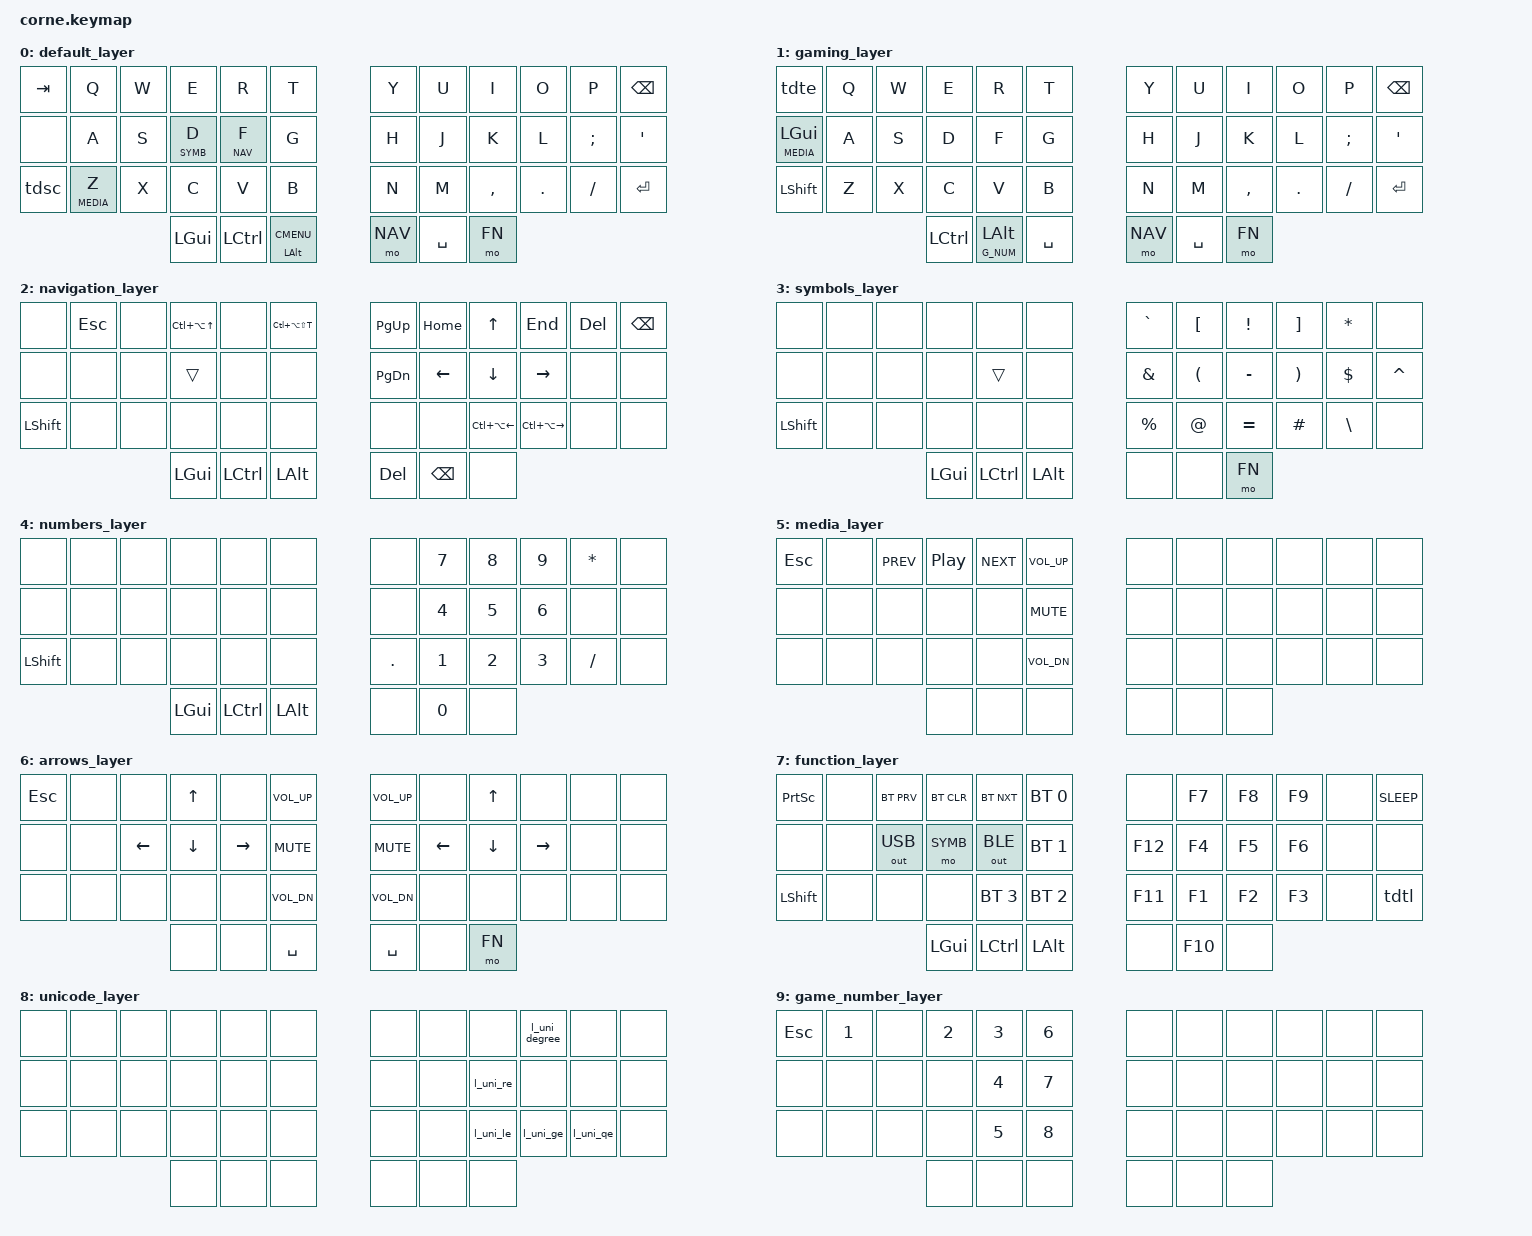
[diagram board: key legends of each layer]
/*
 * Copyright (c) 2020 The ZMK Contributors
 *
 * SPDX-License-Identifier: MIT
 */

#include <behaviors.dtsi>
#include <dt-bindings/zmk/keys.h>
#include <dt-bindings/zmk/bt.h>
#include <dt-bindings/zmk/outputs.h>

#define DEFAULT 0
#define GAME 1
#define NAV 2
#define SYMB 3
#define NUM 4
#define MEDIA 5
#define ARROWS 6
#define FN 7
#define UNI 8
#define G_NUM 9   // Numbers (1-5) accessible from the GAME layer

&caps_word {
    continue-list = <UNDERSCORE MINUS LSHFT>;
};

/ {
	conditional_layers {
		compatible = "zmk,conditional-layers";
		tri_layer_numbers {
			if-layers = <NAV SYMB>;
			then-layer = <NUM>;
		};
		tri_layer_unicode {
			if-layers = <SYMB FN>;
			then-layer = <UNI>;
		};
	};

    behaviors {
        mltp: media_layer_tap_preferred {
            compatible = "zmk,behavior-hold-tap";
            label = "MEDIA_LAYER_TAP_PREFERRED";
            #binding-cells = <2>;
			flavor = "tap-preferred";
			tapping-term-ms = <300>;
            bindings = <&mo>, <&kp>;
        };

        tdsc: tap_dance_shift_caps_word {
            compatible = "zmk,behavior-tap-dance";
            label = "TAP_DANCE_SHIFT_CAPS_WORD";
            #binding-cells = <0>;
            tapping-term-ms = <200>;
            bindings = <&kp LSHFT>, <&caps_word>;
        };

        tdte: tap_dance_tab_esc {
            compatible = "zmk,behavior-tap-dance";
            label = "TAP_DANCE_TAB_ESC";
            #binding-cells = <0>;
            tapping-term-ms = <200>;
            bindings = <&kp TAB>, <&kp ESC>;
        };

        tdtl: tap_dance_to_layer {
            compatible = "zmk,behavior-tap-dance";
            label = "TAP_DANCE_TO_LAYER";
            #binding-cells = <0>;
            tapping-term-ms = <1000>;
            bindings = <&to DEFAULT>, <&to GAME>, <&to ARROWS>;
        };
	};

	macros {
        l_uni_le: linux_unicode_less_than_or_equal {
            label = "LINUX_UNICODE_LE";
            compatible = "zmk,behavior-macro";
            #binding-cells = <0>;
			wait-ms = <10>;
			tap-ms = <10>;
            bindings = <&kp LC(LS(U)) &kp N2 &kp N2 &kp N6 &kp N4 &kp RET>;
        };

        l_uni_ge: linux_unicode_greater_than_or_equal {
            label = "LINUX_UNICODE_GE";
            compatible = "zmk,behavior-macro";
            #binding-cells = <0>;
			wait-ms = <10>;
			tap-ms = <10>;
			bindings = <&kp LC(LS(U)) &kp N2 &kp N2 &kp N6 &kp N5 &kp RET>;
        };

		l_uni_qe: linux_unicode_questioned_equals {
            label = "LINUX_UNICODE_QE";
            compatible = "zmk,behavior-macro";
            #binding-cells = <0>;
			wait-ms = <10>;
			tap-ms = <10>;
			bindings = <&kp LC(LS(U)) &kp N2 &kp N2 &kp N5 &kp F &kp RET>;
        };

		l_uni_re: linux_unicode_roughly_equals {
            label = "LINUX_UNICODE_RE";
            compatible = "zmk,behavior-macro";
            #binding-cells = <0>;
			wait-ms = <10>;
			tap-ms = <10>;
			bindings = <&kp LC(LS(U)) &kp N2 &kp N2 &kp N4 &kp N8 &kp RET>;
        };

		l_uni_degree: linux_unicode_degree {
            label = "LINUX_UNICODE_DEG";
            compatible = "zmk,behavior-macro";
            #binding-cells = <0>;
			wait-ms = <10>;
			tap-ms = <10>;
			bindings = <&kp LC(LS(U)) &kp N0 &kp N0 &kp B &kp N0 &kp RET>;
        };
    };

	keymap {
		compatible = "zmk,keymap";
		default_layer {
			bindings = <
&kp TAB &kp Q         &kp W    &kp E      &kp R            &kp T     /*|*/ &kp Y     &kp U   &kp I     &kp O   &kp P    &kp BSPC
&none   &kp A         &kp S    &lt SYMB D &lt NAV F        &kp G     /*|*/ &kp H     &kp J   &kp K     &kp L   &kp SEMI &kp SQT
&tdsc   &mltp MEDIA Z &kp X    &kp C      &kp V            &kp B     /*|*/ &kp N     &kp M   &kp COMMA &kp DOT &kp FSLH &kp RET
                               &kp LGUI   &kp LCTRL &mt LALT K_CMENU /*|*/ &mo NAV   &kp SPACE &mo FN
			>;
		};

		gaming_layer {
			bindings = <
&tdte          &kp Q &kp W &kp E     &kp R          &kp T     /*|*/ &kp Y     &kp U   &kp I     &kp O   &kp P    &kp BSPC
&lt MEDIA LGUI &kp A &kp S &kp D     &kp F          &kp G     /*|*/ &kp H     &kp J   &kp K     &kp L   &kp SEMI &kp SQT
&kp LSHFT      &kp Z &kp X &kp C     &kp V          &kp B     /*|*/ &kp N     &kp M   &kp COMMA &kp DOT &kp FSLH &kp RET
                           &kp LCTRL &lt G_NUM LALT &kp SPACE /*|*/ &mo NAV   &kp SPACE  &mo FN
			>;
		};

		navigation_layer {
			bindings = <
&none     &kp ESC &none &kp LC(LA(UP)) &none    &kp LC(LA(LS(T))) /*|*/ &kp PG_UP &kp HOME &kp UP           &kp END           &kp DEL &kp BSPC
&none     &none   &none &trans         &none    &none             /*|*/ &kp PG_DN &kp LEFT &kp DOWN         &kp RIGHT         &none   &none
&kp LSHFT &none   &none &none          &none    &none             /*|*/ &none     &none    &kp LC(LA(LEFT)) &kp LC(LA(RIGHT)) &none   &none
				        &kp LGUI      &kp LCTRL &kp LALT          /*|*/ &kp DEL &kp BSPC &none
			>;
		};

		symbols_layer {
			bindings = <
&none     &none &none &none    &none    &none       /*|*/ &kp GRAVE &kp LBKT &kp EXCL  &kp RBKT &kp STAR &none
&none     &none &none &none    &trans   &none       /*|*/ &kp AMPS  &kp LPAR &kp MINUS &kp RPAR &kp DLLR &kp CARET
&kp LSHFT &none &none &none    &none    &none       /*|*/ &kp PRCNT &kp AT   &kp EQUAL &kp HASH &kp BSLH &none
				      &kp LGUI &kp LCTRL &kp LALT   /*|*/ &none     &none    &mo FN
			>;
		};

		numbers_layer {
			bindings = <
&none     &none &none &none    &none    &none     /*|*/ &none   &kp N7 &kp N8 &kp N9 &kp STAR &none
&none     &none &none &none    &none    &none     /*|*/ &none   &kp N4 &kp N5 &kp N6 &none    &none
&kp LSHFT &none &none &none    &none    &none     /*|*/ &kp DOT &kp N1 &kp N2 &kp N3 &kp FSLH &none
				      &kp LGUI &kp LCTRL &kp LALT /*|*/ &none  &kp N0  &none
			>;
		};

		media_layer {
			bindings = <
&kp ESC &none &kp C_PREV &kp C_PP &kp C_NEXT &kp C_VOL_UP /*|*/ &none &none &none &none &none &none
&none   &none &none      &none    &none      &kp C_MUTE   /*|*/ &none &none &none &none &none &none
&none   &none &none      &none    &none      &kp C_VOL_DN /*|*/ &none &none &none &none &none &none
                         &none    &none      &none        /*|*/ &none &none &none
			>;
		};

		arrows_layer {
			bindings = <
&kp ESC &none &none    &kp UP   &none     &kp C_VOL_UP /*|*/ &kp C_VOL_UP &none    &kp UP   &none     &none &none
&none   &none &kp LEFT &kp DOWN &kp RIGHT &kp C_MUTE   /*|*/ &kp C_MUTE   &kp LEFT &kp DOWN &kp RIGHT &none &none
&none   &none &none    &none    &none     &kp C_VOL_DN /*|*/ &kp C_VOL_DN &none    &none    &none     &none &none
                       &none    &none     &kp SPACE    /*|*/ &kp SPACE    &none    &mo FN
			>;
		};

		function_layer {
			bindings = <
&kp PSCRN &none &bt BT_PRV   &bt BT_CLR &bt BT_NXT   &bt BT_SEL 0 /*|*/ &none   &kp F7 &kp F8 &kp F9 &none &kp C_SLEEP
&none     &none &out OUT_USB &mo SYMB   &out OUT_BLE &bt BT_SEL 1 /*|*/ &kp F12 &kp F4 &kp F5 &kp F6 &none &none
&kp LSHFT &none &none        &none      &bt BT_SEL 3 &bt BT_SEL 2 /*|*/ &kp F11 &kp F1 &kp F2 &kp F3 &none &tdtl
				             &kp LGUI   &kp LCTRL     &kp LALT    /*|*/ &none   &kp F10 &none
			>;
		};

		unicode_layer {
			bindings = <
&none &none &none &none &none &none /*|*/ &none &none &none     &l_uni_degree &none     &none
&none &none &none &none &none &none /*|*/ &none &none &l_uni_re &none         &none     &none
&none &none &none &none &none &none /*|*/ &none &none &l_uni_le &l_uni_ge     &l_uni_qe &none
				  &none &none &none /*|*/ &none &none &none
			>;
		};

		game_number_layer {
			bindings = <
&kp ESC &kp N1 &none &kp N2 &kp N3 &kp N6 /*|*/ &none &none &none &none &none &none
&none   &none  &none &none  &kp N4 &kp N7 /*|*/ &none &none &none &none &none &none
&none   &none  &none &none  &kp N5 &kp N8 /*|*/ &none &none &none &none &none &none
					 &none  &none  &none  /*|*/ &none &none &none
			>;
		};
	};
};

